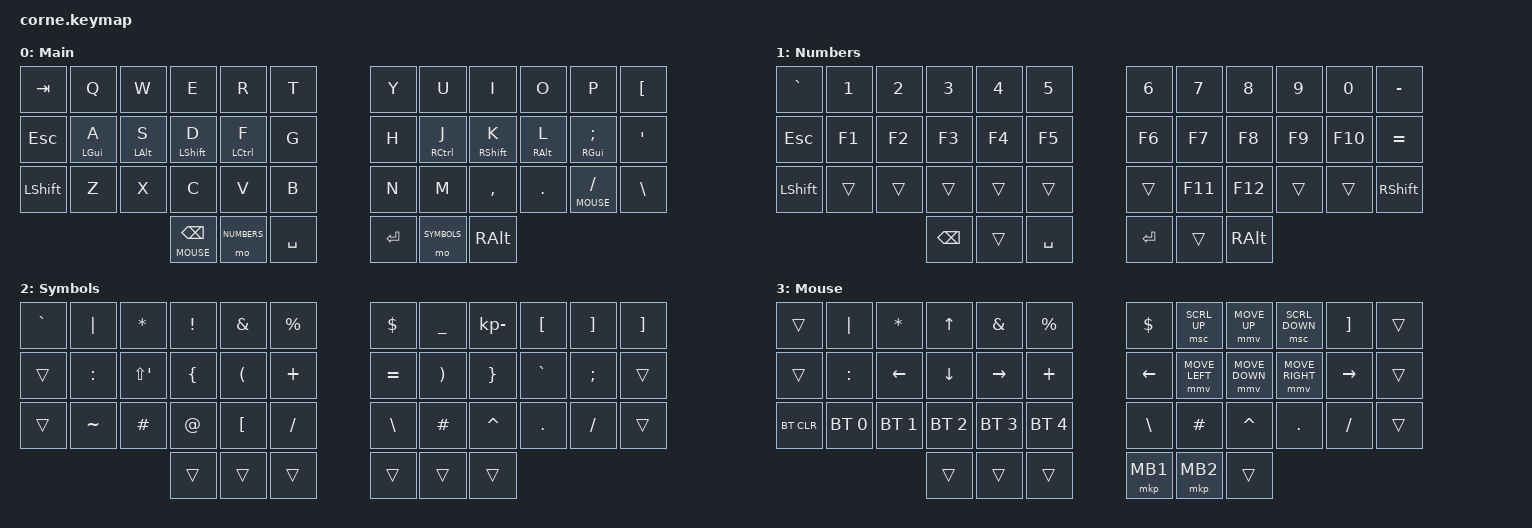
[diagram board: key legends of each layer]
#include <behaviors.dtsi>
#include <dt-bindings/zmk/bt.h>
#include <dt-bindings/zmk/keys.h>
#include <dt-bindings/zmk/pointing.h>

#define MAIN 0
#define NUMBERS 1
#define SYMBOLS 2
#define MOUSE 3

/ {
    behaviors {
        hm: homerow_mods {
            compatible = "zmk,behavior-hold-tap";
            label = "HOMEROW_MODS";
            #binding-cells = <2>;
            tapping-term-ms = <400>;
            quick-tap-ms = <400>;
            require-prior-idle-ms = <400>;
            flavor = "tap-preferred";
            bindings = <&kp>, <&kp>;
        };
    };

    keymap {
        compatible = "zmk,keymap";

        main {
            display-name = "Main";
            bindings = <
/*
&kp TAB           &kp Q  &kp W        &kp E           &kp R               &kp T     &kp Y                &kp U               &kp I            &kp O        &kp P       &kp BSPC
&kp ESC           &kp A  &hm LCTRL S  &hm LEFT_ALT D  &hm LGUI F          &kp G     &kp H                &hm RGUI J          &hm RIGHT_ALT K  &hm RCTRL L  &lt 2 SEMI  &none
&kp LEFT_SHIFT    &kp Z  &kp X        &kp C           &kp V               &kp B     &kp N                &kp M               &kp COMMA        &kp DOT      &kp FSLH    &none
                                      &kp LGUI        &lt 1 BSPC	      &kp SPACE &lt 3 RET            &mo 2               &kp RALT
*/
&kp TAB           &kp Q       &kp W            &kp E            &kp R             &kp T         &kp Y        &kp U               &kp I             &kp O           &kp P             &kp LBKT
&kp ESC           &hm LGUI A  &hm LEFT_ALT S   &hm LEFT_SHIFT D &hm LCTRL F       &kp G         &kp H        &hm RCTRL J         &hm RIGHT_SHIFT K &hm RIGHT_ALT L &hm RGUI SEMI     &kp SQT
&kp LEFT_SHIFT    &kp Z       &kp X            &kp C            &kp V             &kp B         &kp N        &kp M               &kp COMMA         &kp DOT         &lt MOUSE FSLH    &kp BSLH
                                               &lt MOUSE BSPC   &mo NUMBERS       &kp SPACE     &kp RET      &mo SYMBOLS         &kp RALT
            >;
        };

        numbers {
            display-name = "Numbers";
            bindings = <
&kp GRAVE         &kp N1      &kp N2           &kp N3          &kp N4              &kp N5        &kp N6       &kp N7              &kp N8            &kp N9          &kp N0        &kp MINUS
&kp ESC           &kp F1      &kp F2           &kp F3          &kp F4              &kp F5        &kp F6       &kp F7              &kp F8            &kp F9          &kp F10       &kp EQUAL
&kp LEFT_SHIFT    &trans      &trans           &trans          &trans              &trans        &trans       &kp F11             &kp F12           &trans          &trans        &kp RIGHT_SHIFT
                                               &kp BSPC        &trans              &kp SPACE     &kp RET      &trans              &kp RALT
            >;
        };

        symbols {
            display-name = "Symbols";
            bindings = <
&kp GRAVE &kp PIPE   &kp ASTERISK  &kp EXCL        &kp AMPERSAND         &kp PERCENT    &kp DOLLAR     &kp UNDER              &kp KP_MINUS     &kp LEFT_BRACKET  &kp RIGHT_BRACKET  &kp RBKT
&trans    &kp COLON  &kp LS(APOS)  &kp LEFT_BRACE  &kp LEFT_PARENTHESIS  &kp PLUS       &kp EQUAL      &kp RIGHT_PARENTHESIS  &kp RIGHT_BRACE  &kp GRAVE         &kp SEMICOLON      &trans
&trans    &kp TILDE  &kp POUND     &kp AT          &kp LEFT_BRACKET      &kp SLASH      &kp BACKSLASH  &kp POUND              &kp CARET        &kp PERIOD        &kp SLASH          &trans
                                   &trans          &trans                &trans         &trans         &trans                 &trans
            >;
        };

        mouse {
            display-name = "Mouse";
            bindings = <
&trans      &kp PIPE      &kp ASTERISK  &kp UP          &kp AMPERSAND         &kp PERCENT    &kp DOLLAR     &msc SCRL_UP           &mmv MOVE_UP    &msc SCRL_DOWN    &kp RIGHT_BRACKET  &trans
&trans      &kp COLON     &kp LEFT      &kp DOWN        &kp RIGHT             &kp PLUS       &kp LEFT       &mmv MOVE_LEFT         &mmv MOVE_DOWN  &mmv MOVE_RIGHT   &kp RIGHT          &trans
&bt BT_CLR  &bt BT_SEL 0  &bt BT_SEL 1  &bt BT_SEL 2    &bt BT_SEL 3          &bt BT_SEL 4   &kp BACKSLASH  &kp POUND              &kp CARET       &kp PERIOD        &kp SLASH          &trans
                                        &trans          &trans                &trans         &mkp MB1       &mkp MB2               &trans
            >;
        };
    };
};
